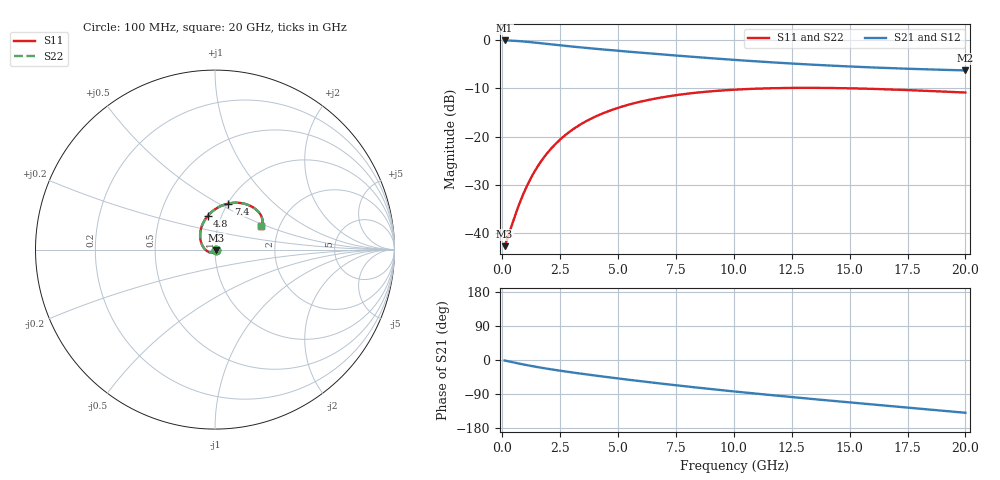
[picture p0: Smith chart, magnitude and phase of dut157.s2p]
! Created with skrf 1.9.0 (http://scikit-rf.org).
# GHz S RI R 50.0
!freq ReS11 ImS11 ReS21 ImS21 ReS12 ImS12 ReS22 ImS22
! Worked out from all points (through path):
!   200 points, 100 MHz to 20 GHz, reference 50 ohm
!   highest |S21| = -0.06 dB at 100 MHz (marker M1); lowest = -6.3 dB at 20 GHz (marker M2)
!   group delay of S21, straight-line fit = 18.2 ps
!   lowest |S11| = -42.7 dB at 100 MHz (marker M3), VSWR 1.01, Z = 50.6 - j0.355 ohm
!   |S11| at or under -10 dB: start of sweep to 11.34 GHz; 15.22 GHz to end of sweep
!   |S22| runs from -42.7 to -9.9 dB; largest |S21 - S12| = 2.5e-15
!   S11 on the Smith chart (normalised r, x): 100 MHz: 1.01, -0.01; 4.8 GHz: 0.86, +0.34; 7.4 GHz: 1.01, +0.56; 20 GHz: 1.60, +0.46
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0.1  0.00644 -0.00351  0.9926 -0.0228  0.9926 -0.0228  0.00644 -0.00351
0.6  -0.0049 -0.0157  0.9727 -0.1348  0.9727 -0.1348  -0.0049 -0.0157
0.8  -0.0132 -0.0176  0.9582 -0.1759  0.9582 -0.1759  -0.0132 -0.0176
1.1  -0.0278 -0.0161  0.9317 -0.2323  0.9317 -0.2323  -0.0278 -0.0161
1.3  -0.0379 -0.012  0.9116 -0.2663  0.9116 -0.2663  -0.0379 -0.012
1.5  -0.0476 -0.00573  0.8903 -0.2975  0.8903 -0.2975  -0.0476 -0.00573
1.9  -0.0644 0.0125  0.8459 -0.3522  0.8459 -0.3522  -0.0644 0.0125
2.4  -0.0781 0.0423  0.7896 -0.4087  0.7896 -0.4087  -0.0781 0.0423
2.9  -0.0829 0.0755  0.7341 -0.4554  0.7341 -0.4554  -0.0829 0.0755
3.5  -0.0782 0.1152  0.6689 -0.5018  0.6689 -0.5018  -0.0782 0.1152
4.1  -0.0645 0.1515  0.6053 -0.5396  0.6053 -0.5396  -0.0645 0.1515
4.8  -0.0407 0.1874  0.5328 -0.5747  0.5328 -0.5747  -0.0407 0.1874
5.7  -0.00296 0.2223  0.4424 -0.6072  0.4424 -0.6072  -0.00296 0.2223
6.8  0.0471 0.2486  0.3374 -0.6301  0.3374 -0.6301  0.0471 0.2486
7.4  0.0741 0.2564  0.2831 -0.6358  0.2831 -0.6358  0.0741 0.2564
8.7  0.1281 0.2608  0.1741 -0.6351  0.1741 -0.6351  0.1281 0.2608
10.1  0.1764 0.2518  0.0702 -0.6188  0.0702 -0.6188  0.1764 0.2518
11.7  0.2177 0.2316  -0.0323 -0.5869  -0.0323 -0.5869  0.2177 0.2316
13.4  0.2461 0.2053  -0.1248 -0.5429  -0.1248 -0.5429  0.2461 0.2053
15  0.2605 0.1807  -0.1989 -0.4951  -0.1989 -0.4951  0.2605 0.1807
16.7  0.2653 0.1581  -0.2663 -0.4391  -0.2663 -0.4391  0.2653 0.1581
20  0.2546 0.1315  -0.3684 -0.3171  -0.3684 -0.3171  0.2546 0.1315
